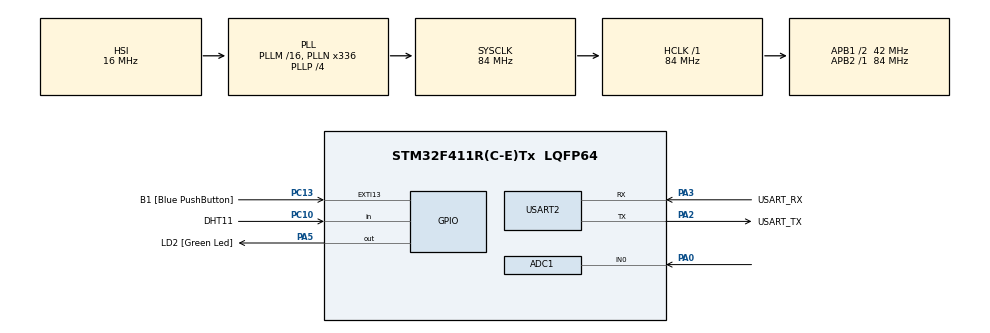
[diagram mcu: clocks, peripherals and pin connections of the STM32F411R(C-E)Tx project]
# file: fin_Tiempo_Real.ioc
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ADC1.Channel-0\#ChannelRegularConversion=ADC_CHANNEL_0
ADC1.NbrOfConversionFlag=1
ADC1.Rank-0\#ChannelRegularConversion=1
ADC1.Resolution=ADC_RESOLUTION_10B
ADC1.SamplingTime-0\#ChannelRegularConversion=ADC_SAMPLETIME_3CYCLES
ADC1.master=1
FREERTOS.Events01=myEventFlag,Dynamic,NULL
FREERTOS.Mutexes01=mutex_waterArea,Dynamic,NULL;mutex_delayTrasmit,Dynamic,NULL
FREERTOS.Queues01=Q_control_TX,3,uint32_t,0,Dynamic,NULL,NULL;Q_RX_control,3,uint32_t,0,Dynamic,NULL,NULL;Q_dht11_control,3,uint32_t,0,Dynamic,NULL,NULL;Q_waterLevel_control,3,uint32_t,0,Dynamic,NULL,NULL
FREERTOS.Tasks01=uart_TX_task,24,512,start_uart_TX_task,Default,NULL,Dynamic,NULL,NULL;uart_RX_task,24,256,start_uart_RX_task,Default,NULL,Dynamic,NULL,NULL;control_task,24,128,start_control_task,Default,NULL,Dynamic,NULL,NULL;dht11_task,24,512,start_dht11_task,Default,NULL,Dynamic,NULL,NULL;waterLavel_task,24,128,start_waterLavel_task,Default,NULL,Dynamic,NULL,NULL;lcd_task,24,128,start_lcd_task,Default,NULL,Dynamic,NULL,NULL;emptyDrum_task,24,128,start_emptyDrum_task,Default,NULL,Dynamic,NULL,NULL
Mcu.Family=STM32F4
Mcu.Name=STM32F411R(C-E)Tx
Mcu.Package=LQFP64
NVIC.EXTI15_10_IRQn=true\:5\:0\:false\:false\:true\:true\:true\:true\:true
NVIC.PriorityGroup=NVIC_PRIORITYGROUP_4
NVIC.USART2_IRQn=true\:5\:0\:false\:false\:true\:true\:true\:true\:true
PA0-WKUP.Signal=ADCx_IN0
PA13.GPIO_Label=TMS
PA13.Mode=Serial_Wire
PA13.Signal=SYS_JTMS-SWDIO
PA14.GPIO_Label=TCK
PA14.Mode=Serial_Wire
PA14.Signal=SYS_JTCK-SWCLK
PA2.GPIO_Label=USART_TX
PA2.Mode=Asynchronous
PA2.Signal=USART2_TX
PA3.GPIO_Label=USART_RX
PA3.Mode=Asynchronous
PA3.Signal=USART2_RX
PA5.GPIO_Label=LD2 [Green Led]
PA5.Signal=GPIO_Output
PB3.GPIO_Label=SWO
PB3.Signal=SYS_JTDO-SWO
PC10.GPIO_Label=DHT11
PC10.Signal=GPIO_Input
PC13-ANTI_TAMP.GPIO_Label=B1 [Blue PushButton]
PC13-ANTI_TAMP.GPIO_ModeDefaultEXTI=GPIO_MODE_IT_FALLING
PC13-ANTI_TAMP.Signal=GPXTI13
PC14-OSC32_IN.Mode=LSE-External-Oscillator
PC14-OSC32_IN.Signal=RCC_OSC32_IN
PC15-OSC32_OUT.Mode=LSE-External-Oscillator
PC15-OSC32_OUT.Signal=RCC_OSC32_OUT
PH0\ -\ OSC_IN.Mode=HSE-External-Clock-Source
PH0\ -\ OSC_IN.Signal=RCC_OSC_IN
PH1\ -\ OSC_OUT.Mode=HSE-External-Clock-Source
PH1\ -\ OSC_OUT.Signal=RCC_OSC_OUT
ProjectManager.HeapSize=0x200
ProjectManager.StackSize=0x400
ProjectManager.TargetToolchain=STM32CubeIDE
RCC.48MHZClocksFreq_Value=84000000
RCC.AHBFreq_Value=84000000
RCC.APB1CLKDivider=RCC_HCLK_DIV2
RCC.APB1Freq_Value=42000000
RCC.APB1TimFreq_Value=84000000
RCC.APB2Freq_Value=84000000
RCC.APB2TimFreq_Value=84000000
RCC.CortexFreq_Value=84000000
RCC.FLatency-AdvancedSettings=FLASH_LATENCY_2
RCC.HCLKFreq_Value=84000000
RCC.HSE_VALUE=8000000
RCC.HSI_VALUE=16000000
RCC.PLLN=336
RCC.PLLP=RCC_PLLP_DIV4
RCC.SYSCLKFreq_VALUE=84000000
RCC.SYSCLKSource=RCC_SYSCLKSOURCE_PLLCLK
RCC.VCOOutputFreq_Value=336000000
SH.ADCx_IN0.0=ADC1_IN0,IN0
TIM10.Prescaler=42000
TIM11.Prescaler=8400
USART2.VirtualMode=VM_ASYNC
VP_FREERTOS_VS_CMSIS_V2.Mode=CMSIS_V2
VP_TIM10_VS_ClockSourceINT.Mode=Enable_Timer
VP_TIM11_VS_ClockSourceINT.Mode=Enable_Timer
board=NUCLEO-F411RE

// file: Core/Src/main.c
/* USER CODE BEGIN Header */
/**
  ******************************************************************************
  * @file           : main.c
  * @brief          : Main program body
  ******************************************************************************
  * @attention
  *
  * Copyright (c) 2024 STMicroelectronics.
  * All rights reserved.
  *
  * This software is licensed under terms that can be found in the LICENSE file
  * in the root directory of this software component.
  * If no LICENSE file comes with this software, it is provided AS-IS.
  *
  ******************************************************************************
  */
/* USER CODE END Header */
#include "main.h"
#include "cmsis_os.h"

/* USER CODE BEGIN Includes */
#include <stdio.h>
#include "FreeRTOS.h"
#include "task.h"
#include "semphr.h"
#include <string.h>

#include <dht11.h>
#include <adc.h>

/* USER CODE END Includes */

ADC_HandleTypeDef hadc1;

TIM_HandleTypeDef htim10;
TIM_HandleTypeDef htim11;

UART_HandleTypeDef huart2;

/* Definitions for uart_TX_task */
osThreadId_t uart_TX_taskHandle;
const osThreadAttr_t uart_TX_task_attributes = {
  .name = "uart_TX_task",
  .stack_size = 512 * 4,
  .priority = (osPriority_t) osPriorityNormal,
};
/* Definitions for uart_RX_task */
osThreadId_t uart_RX_taskHandle;
const osThreadAttr_t uart_RX_task_attributes = {
  .name = "uart_RX_task",
  .stack_size = 256 * 4,
  .priority = (osPriority_t) osPriorityNormal,
};
/* Definitions for control_task */
osThreadId_t control_taskHandle;
const osThreadAttr_t control_task_attributes = {
  .name = "control_task",
  .stack_size = 128 * 4,
  .priority = (osPriority_t) osPriorityNormal,
};
/* Definitions for dht11_task */
osThreadId_t dht11_taskHandle;
const osThreadAttr_t dht11_task_attributes = {
  .name = "dht11_task",
  .stack_size = 512 * 4,
  .priority = (osPriority_t) osPriorityNormal,
};
/* Definitions for waterLavel_task */
osThreadId_t waterLavel_taskHandle;
const osThreadAttr_t waterLavel_task_attributes = {
  .name = "waterLavel_task",
  .stack_size = 128 * 4,
  .priority = (osPriority_t) osPriorityNormal,
};
/* Definitions for lcd_task */
osThreadId_t lcd_taskHandle;
const osThreadAttr_t lcd_task_attributes = {
  .name = "lcd_task",
  .stack_size = 128 * 4,
  .priority = (osPriority_t) osPriorityNormal,
};
/* Definitions for emptyDrum_task */
osThreadId_t emptyDrum_taskHandle;
const osThreadAttr_t emptyDrum_task_attributes = {
  .name = "emptyDrum_task",
  .stack_size = 128 * 4,
  .priority = (osPriority_t) osPriorityNormal,
};
/* Definitions for Q_control_TX */
osMessageQueueId_t Q_control_TXHandle;
const osMessageQueueAttr_t Q_control_TX_attributes = {
  .name = "Q_control_TX"
};
/* Definitions for Q_RX_control */
osMessageQueueId_t Q_RX_controlHandle;
const osMessageQueueAttr_t Q_RX_control_attributes = {
  .name = "Q_RX_control"
};
/* Definitions for Q_dht11_control */
osMessageQueueId_t Q_dht11_controlHandle;
const osMessageQueueAttr_t Q_dht11_control_attributes = {
  .name = "Q_dht11_control"
};
/* Definitions for Q_waterLevel_control */
osMessageQueueId_t Q_waterLevel_controlHandle;
const osMessageQueueAttr_t Q_waterLevel_control_attributes = {
  .name = "Q_waterLevel_control"
};
/* Definitions for mutex_waterArea */
osMutexId_t mutex_waterAreaHandle;
const osMutexAttr_t mutex_waterArea_attributes = {
  .name = "mutex_waterArea"
};
/* Definitions for mutex_delayTrasmit */
osMutexId_t mutex_delayTrasmitHandle;
const osMutexAttr_t mutex_delayTrasmit_attributes = {
  .name = "mutex_delayTrasmit"
};
/* Definitions for myEventFlag */
osEventFlagsId_t myEventFlagHandle;
const osEventFlagsAttr_t myEventFlag_attributes = {
  .name = "myEventFlag"
};
/* USER CODE BEGIN PV */
uint8_t WaterArea;
uint32_t delayTrasmit;
/* USER CODE END PV */

void SystemClock_Config(void);
static void MX_GPIO_Init(void);
static void MX_USART2_UART_Init(void);
static void MX_TIM10_Init(void);
static void MX_ADC1_Init(void);
static void MX_TIM11_Init(void);
void start_uart_TX_task(void *argument);
void start_uart_RX_task(void *argument);
void start_control_task(void *argument);
void start_dht11_task(void *argument);
void start_waterLavel_task(void *argument);
void start_lcd_task(void *argument);
void start_emptyDrum_task(void *argument);

/* USER CODE BEGIN PFP */
extern void DHT11_Init(DHT11_TypeDef* dht11);
extern HAL_StatusTypeDef DHT11_ReadData(DHT11_TypeDef* dht11, uint8_t* humidity, uint8_t* temperature);

extern uint32_t readAnalogA0(void);
extern uint32_t getWaterLevel (uint32_t val_agua);
/* USER CODE END PFP */

int main(void)
{

  /* MCU Configuration--------------------------------------------------------*/

  /* Reset of all peripherals, Initializes the Flash interface and the Systick. */
  HAL_Init();

  /* Configure the system clock */
  SystemClock_Config();

  /* Initialize all configured peripherals */
  MX_GPIO_Init();
  MX_USART2_UART_Init();
  MX_TIM10_Init();
  MX_ADC1_Init();
  MX_TIM11_Init();

  /* Init scheduler */
  osKernelInitialize();
  /* Create the mutex(es) */
  /* creation of mutex_waterArea */
  mutex_waterAreaHandle = osMutexNew(&mutex_waterArea_attributes);

  /* creation of mutex_delayTrasmit */
  mutex_delayTrasmitHandle = osMutexNew(&mutex_delayTrasmit_attributes);

  /* Create the queue(s) */
  /* creation of Q_control_TX */
  Q_control_TXHandle = osMessageQueueNew (3, sizeof(uint32_t), &Q_control_TX_attributes);

  /* creation of Q_RX_control */
  Q_RX_controlHandle = osMessageQueueNew (3, sizeof(uint32_t), &Q_RX_control_attributes);

  /* creation of Q_dht11_control */
  Q_dht11_controlHandle = osMessageQueueNew (3, sizeof(uint32_t), &Q_dht11_control_attributes);

  /* creation of Q_waterLevel_control */
  Q_waterLevel_controlHandle = osMessageQueueNew (3, sizeof(uint32_t), &Q_waterLevel_control_attributes);

  /* Create the thread(s) */
  /* creation of uart_TX_task */
  uart_TX_taskHandle = osThreadNew(start_uart_TX_task, NULL, &uart_TX_task_attributes);

  /* creation of uart_RX_task */
  uart_RX_taskHandle = osThreadNew(start_uart_RX_task, NULL, &uart_RX_task_attributes);

  /* creation of control_task */
  control_taskHandle = osThreadNew(start_control_task, NULL, &control_task_attributes);

  /* creation of dht11_task */
  dht11_taskHandle = osThreadNew(start_dht11_task, NULL, &dht11_task_attributes);

  /* creation of waterLavel_task */
  waterLavel_taskHandle = osThreadNew(start_waterLavel_task, NULL, &waterLavel_task_attributes);

  /* creation of lcd_task */
  lcd_taskHandle = osThreadNew(start_lcd_task, NULL, &lcd_task_attributes);

  /* creation of emptyDrum_task */
  emptyDrum_taskHandle = osThreadNew(start_emptyDrum_task, NULL, &emptyDrum_task_attributes);

  /* creation of myEventFlag */
  myEventFlagHandle = osEventFlagsNew(&myEventFlag_attributes);

  /* Start scheduler */
  osKernelStart();

  /* We should never get here as control is now taken by the scheduler */
  /* Infinite loop */
  while (1)
  {

  }
}

void SystemClock_Config(void)
{
  RCC_OscInitTypeDef RCC_OscInitStruct = {0};
  RCC_ClkInitTypeDef RCC_ClkInitStruct = {0};

  /** Configure the main internal regulator output voltage
  */
  __HAL_RCC_PWR_CLK_ENABLE();
  __HAL_PWR_VOLTAGESCALING_CONFIG(PWR_REGULATOR_VOLTAGE_SCALE1);

  /** Initializes the RCC Oscillators according to the specified parameters
  * in the RCC_OscInitTypeDef structure.
  */
  RCC_OscInitStruct.OscillatorType = RCC_OSCILLATORTYPE_HSI;
  RCC_OscInitStruct.HSIState = RCC_HSI_ON;
  RCC_OscInitStruct.HSICalibrationValue = RCC_HSICALIBRATION_DEFAULT;
  RCC_OscInitStruct.PLL.PLLState = RCC_PLL_ON;
  RCC_OscInitStruct.PLL.PLLSource = RCC_PLLSOURCE_HSI;
  RCC_OscInitStruct.PLL.PLLM = 16;
  RCC_OscInitStruct.PLL.PLLN = 336;
  RCC_OscInitStruct.PLL.PLLP = RCC_PLLP_DIV4;
  RCC_OscInitStruct.PLL.PLLQ = 4;
  if (HAL_RCC_OscConfig(&RCC_OscInitStruct) != HAL_OK)
  {
    Error_Handler();
  }

  /** Initializes the CPU, AHB and APB buses clocks
  */
  RCC_ClkInitStruct.ClockType = RCC_CLOCKTYPE_HCLK|RCC_CLOCKTYPE_SYSCLK
                              |RCC_CLOCKTYPE_PCLK1|RCC_CLOCKTYPE_PCLK2;
  RCC_ClkInitStruct.SYSCLKSource = RCC_SYSCLKSOURCE_PLLCLK;
  RCC_ClkInitStruct.AHBCLKDivider = RCC_SYSCLK_DIV1;
  RCC_ClkInitStruct.APB1CLKDivider = RCC_HCLK_DIV2;
  RCC_ClkInitStruct.APB2CLKDivider = RCC_HCLK_DIV1;

  if (HAL_RCC_ClockConfig(&RCC_ClkInitStruct, FLASH_LATENCY_2) != HAL_OK)
  {
    Error_Handler();
  }
}

static void MX_ADC1_Init(void)
{

  ADC_ChannelConfTypeDef sConfig = {0};

  /** Configure the global features of the ADC (Clock, Resolution, Data Alignment and number of conversion)
  */
  hadc1.Instance = ADC1;
  hadc1.Init.ClockPrescaler = ADC_CLOCK_SYNC_PCLK_DIV4;
  hadc1.Init.Resolution = ADC_RESOLUTION_10B;
  hadc1.Init.ScanConvMode = DISABLE;
  hadc1.Init.ContinuousConvMode = DISABLE;
  hadc1.Init.DiscontinuousConvMode = DISABLE;
  hadc1.Init.ExternalTrigConvEdge = ADC_EXTERNALTRIGCONVEDGE_NONE;
  hadc1.Init.ExternalTrigConv = ADC_SOFTWARE_START;
  hadc1.Init.DataAlign = ADC_DATAALIGN_RIGHT;
  hadc1.Init.NbrOfConversion = 1;
  hadc1.Init.DMAContinuousRequests = DISABLE;
  hadc1.Init.EOCSelection = ADC_EOC_SINGLE_CONV;
  if (HAL_ADC_Init(&hadc1) != HAL_OK)
  {
    Error_Handler();
  }

  /** Configure for the selected ADC regular channel its corresponding rank in the sequencer and its sample time.
  */
  sConfig.Channel = ADC_CHANNEL_0;
  sConfig.Rank = 1;
  sConfig.SamplingTime = ADC_SAMPLETIME_3CYCLES;
  if (HAL_ADC_ConfigChannel(&hadc1, &sConfig) != HAL_OK)
  {
    Error_Handler();
  }

}

static void MX_TIM10_Init(void)
{

  htim10.Instance = TIM10;
  htim10.Init.Prescaler = 42000;
  htim10.Init.CounterMode = TIM_COUNTERMODE_UP;
  htim10.Init.Period = 65535;
  htim10.Init.ClockDivision = TIM_CLOCKDIVISION_DIV1;
  htim10.Init.AutoReloadPreload = TIM_AUTORELOAD_PRELOAD_DISABLE;
  if (HAL_TIM_Base_Init(&htim10) != HAL_OK)
  {
    Error_Handler();
  }

}

static void MX_TIM11_Init(void)
{

  htim11.Instance = TIM11;
  htim11.Init.Prescaler = 8400;
  htim11.Init.CounterMode = TIM_COUNTERMODE_UP;
  htim11.Init.Period = 65535;
  htim11.Init.ClockDivision = TIM_CLOCKDIVISION_DIV1;
  htim11.Init.AutoReloadPreload = TIM_AUTORELOAD_PRELOAD_DISABLE;
  if (HAL_TIM_Base_Init(&htim11) != HAL_OK)
  {
    Error_Handler();
  }

}

static void MX_USART2_UART_Init(void)
{

  huart2.Instance = USART2;
  huart2.Init.BaudRate = 115200;
  huart2.Init.WordLength = UART_WORDLENGTH_8B;
  huart2.Init.StopBits = UART_STOPBITS_1;
  huart2.Init.Parity = UART_PARITY_NONE;
  huart2.Init.Mode = UART_MODE_TX_RX;
  huart2.Init.HwFlowCtl = UART_HWCONTROL_NONE;
  huart2.Init.OverSampling = UART_OVERSAMPLING_16;
  if (HAL_UART_Init(&huart2) != HAL_OK)
  {
    Error_Handler();
  }

}

static void MX_GPIO_Init(void)
{
  GPIO_InitTypeDef GPIO_InitStruct = {0};

  /* GPIO Ports Clock Enable */
  __HAL_RCC_GPIOC_CLK_ENABLE();
  __HAL_RCC_GPIOH_CLK_ENABLE();
  __HAL_RCC_GPIOA_CLK_ENABLE();
  __HAL_RCC_GPIOB_CLK_ENABLE();

  /*Configure GPIO pin Output Level */
  HAL_GPIO_WritePin(LD2_GPIO_Port, LD2_Pin, GPIO_PIN_RESET);

  /*Configure GPIO pin : B1_Pin */
  GPIO_InitStruct.Pin = B1_Pin;
  GPIO_InitStruct.Mode = GPIO_MODE_IT_FALLING;
  GPIO_InitStruct.Pull = GPIO_NOPULL;
  HAL_GPIO_Init(B1_GPIO_Port, &GPIO_InitStruct);

  /*Configure GPIO pin : LD2_Pin */
  GPIO_InitStruct.Pin = LD2_Pin;
  GPIO_InitStruct.Mode = GPIO_MODE_OUTPUT_PP;
  GPIO_InitStruct.Pull = GPIO_NOPULL;
  GPIO_InitStruct.Speed = GPIO_SPEED_FREQ_LOW;
  HAL_GPIO_Init(LD2_GPIO_Port, &GPIO_InitStruct);

  /*Configure GPIO pin : DHT11_Pin */
  GPIO_InitStruct.Pin = DHT11_Pin;
  GPIO_InitStruct.Mode = GPIO_MODE_INPUT;
  GPIO_InitStruct.Pull = GPIO_NOPULL;
  HAL_GPIO_Init(DHT11_GPIO_Port, &GPIO_InitStruct);

  /* EXTI interrupt init*/
  HAL_NVIC_SetPriority(EXTI15_10_IRQn, 5, 0);
  HAL_NVIC_EnableIRQ(EXTI15_10_IRQn);

}

/* USER CODE BEGIN 4 */
void HAL_UART_RxCpltCallback(UART_HandleTypeDef * huart2){
	osEventFlagsSet(myEventFlagHandle, 0x100);
}

void HAL_GPIO_EXTI_Callback(uint16_t GPIO_Pin){
	if (GPIO_Pin == B1_Pin){
		HAL_GPIO_TogglePin(LD2_GPIO_Port, LD2_Pin);
		osEventFlagsSet(myEventFlagHandle, 0x10000);
		///0x20 (Se puede usar para debugear)
		//osEventFlagsSet(myEventFlagHandle, 0x20);
	}
}

uint8_t leerWaterArea(){
	uint8_t auxWaterArea =-1;
	osMutexAcquire(mutex_waterAreaHandle, 0U);
	auxWaterArea = WaterArea; // Leer variable global
	osMutexRelease(mutex_waterAreaHandle);
	return auxWaterArea;
}

void escribirWaterArea(uint8_t auxWaterArea){
	osMutexAcquire(mutex_waterAreaHandle, 0U);
	WaterArea = auxWaterArea; // Escribir variable global
	osMutexRelease(mutex_waterAreaHandle);
}

uint32_t leerDelay(){
	uint32_t auxdelayTrasmit;
	osMutexAcquire(mutex_delayTrasmitHandle, 0U);
	auxdelayTrasmit = delayTrasmit; // Leer variable global
	osMutexRelease(mutex_delayTrasmitHandle);
	return auxdelayTrasmit;
}

void escribirDelay(uint32_t auxdelayTrasmit){
	osMutexAcquire(mutex_delayTrasmitHandle, 0U);
	delayTrasmit = auxdelayTrasmit; // Escribir variable global
	osMutexRelease(mutex_delayTrasmitHandle);
}

/* USER CODE END 4 */

void start_uart_TX_task(void *argument)
{
  /* USER CODE BEGIN 5 */
  /* Infinite loop */
	osStatus_t status_Q_control_TX;
	uint32_t recMsg_Q_control_TX;
	uint8_t priMsg_Q_control_TX;

	uint8_t buffTX [40];
	uint16_t buff_len;

	uint32_t auxDelay = 1;
	escribirDelay(auxDelay);

	uint8_t hum, temp, watLev, watArea;

  for(;;)
  {

	  // Enviar señal a control
	  osEventFlagsSet(myEventFlagHandle, 0x20);

	  // Reapuesta de todos los datos
	  osEventFlagsWait(myEventFlagHandle, 0x10, osFlagsWaitAll, osWaitForever);
	  osEventFlagsClear(myEventFlagHandle, 0x10);

	  // Leer Queue
	  status_Q_control_TX = osMessageQueueGet(Q_control_TXHandle, &recMsg_Q_control_TX, &priMsg_Q_control_TX, osWaitForever);

	  // Interpretar Queue
	  watArea  = (recMsg_Q_control_TX & 0xFF);
	  temp = ((recMsg_Q_control_TX & 0xFF00) >> 8);
	  hum = ((recMsg_Q_control_TX & 0xFF0000) >> 16);
	  watLev = ((recMsg_Q_control_TX & 0xFF000000) >> 24);

	  // Recibir delay
	  auxDelay = leerDelay();

	  // Delay muy pequeño
	  if (auxDelay < 10){

		  // Borrar flag anterior
		  osEventFlagsClear(myEventFlagHandle, 0x1000);

		  // Esperar nuevo flag
		  osEventFlagsWait(myEventFlagHandle, 0x1000, osFlagsWaitAll, osWaitForever);
		  osEventFlagsClear(myEventFlagHandle, 0x1000);

		  auxDelay = leerDelay();
	  }else {
		  // Mandar mensaje (Definir como mandar datos)
		  buff_len = sprintf((char*)buffTX, "watArea %d, hum %d, temp %d, watLev %d\n\r", watArea, hum, temp, watLev);
		  HAL_UART_Transmit(&huart2, (uint8_t *)buffTX, buff_len, 100);
	  }

	  // Cumplir delay especificado
	  osDelay(auxDelay);

  }
  /* USER CODE END 5 */
}

void start_uart_RX_task(void *argument)
{
  /* USER CODE BEGIN start_uart_RX_task */
  /* Infinite loop */
	unsigned char buffRX[2] = "FFFFFF\0";
	uint16_t buff_len = 2;
	memset(buffRX, '\0', buff_len);

	uint8_t err;

	uint32_t auxDelay;

	uint8_t estado = 0;

	osStatus_t status_Q_RX_control;
	uint32_t sendMsg_Q_RX_control;

	unsigned char buffTX[20];
	uint16_t buff_lenTX = 6;

	osDelay(1000);

	for(;;)
	  {

		// Esperar que alguien se conecte

		memset(&buffRX, '\0', sizeof(buffRX));
	    HAL_UART_Receive_IT(&huart2, buffRX, buff_len);

		osEventFlagsWait(myEventFlagHandle, 0x100, osFlagsWaitAll, osWaitForever);
		osEventFlagsClear(myEventFlagHandle, 0x100);
		HAL_GPIO_WritePin(LD2_GPIO_Port, LD2_Pin, GPIO_PIN_SET); // Led encendido estado 1
	    // 5 s -> 0x001388
		// 1 s -> 0x0003E8

		//sscanf(buffRX, "%2x",(unsigned int*) &auxDelay);

		sscanf((char*)buffRX, "%02X", &auxDelay);

		escribirDelay(auxDelay*100);

		osEventFlagsSet(myEventFlagHandle, 0x1000);
	  }

  /* USER CODE END start_uart_RX_task */
}

void start_control_task(void *argument)
{
  /* USER CODE BEGIN start_control_task */
  /* Infinite loop */

		uint8_t cod = 0x01;

		osStatus_t status_Q_RX_control;
		osStatus_t status_Q_dht11_control;
		osStatus_t status_Q_waterLevel_control;
		osStatus_t status_Q_control_TX;

		uint32_t recMsg_Q_RX_control;
		uint8_t priMsg_Q_RX_control;

		uint32_t recMsg_Q_dht11_control, recMsg_Q_waterLevel_control;
		uint8_t priMsg_Q_dht11_control, priMsg_Q_waterLevel_control;

		// Recived value
		uint8_t temp, hum, watLev, watArea;

		// envio mensaje
		uint32_t sendMsg_Q_control_TX;

		uint16_t timer_val;
		uint8_t _buffTX [40];
		uint16_t _buff_len;

	  for(;;)
	  {

		  // Recivir mensaje (TX)
		  osEventFlagsWait(myEventFlagHandle, 0x20, osFlagsWaitAll, osWaitForever);
		  osEventFlagsClear(myEventFlagHandle, 0x20);

		  // Activar dht11
		  osEventFlagsSet(myEventFlagHandle, 0x01);
			osEventFlagsWait(myEventFlagHandle, 0x04, osFlagsWaitAll, osWaitForever);
			osEventFlagsClear(myEventFlagHandle, 0x04);
		  status_Q_dht11_control = osMessageQueueGet(Q_dht11_controlHandle, &recMsg_Q_dht11_control, &priMsg_Q_dht11_control, osWaitForever);
		  if (status_Q_dht11_control == osOK) {
			  hum = (recMsg_Q_dht11_control & 0xFF); // 0x0a (Example)
			  temp = ((recMsg_Q_dht11_control & 0xFF00) >> 8); //((recMsg_Q_dht11_control>>8) & 0xFF); //0x14
		  }else {
			  hum = 101;
			  temp = 101;
		  }

		  // Activar waterLevel
		  osEventFlagsSet(myEventFlagHandle, 0x02);
		  osEventFlagsWait(myEventFlagHandle, 0x08, osFlagsWaitAll, osWaitForever);
		  osEventFlagsClear(myEventFlagHandle, 0x08);
		  status_Q_waterLevel_control = osMessageQueueGet(Q_waterLevel_controlHandle, &recMsg_Q_waterLevel_control, &priMsg_Q_waterLevel_control, osWaitForever);
		  if (status_Q_waterLevel_control == osOK) {
			  watLev = (recMsg_Q_waterLevel_control & 0xFF); // valor Nivel Agua		  			  temp = ((recMsg_Q_dht11_control & 0xFF00) >> 8); //((recMsg_Q_dht11_control>>8) & 0xFF); //0x14
		  }else {
		  	 watLev = 101;
		  }

		  // Recivir dato de mutex
		  watArea = leerWaterArea(); // ml/s

		  sprintf(& sendMsg_Q_control_TX,"%c%c%c%c", watArea, hum, temp, watLev); // 0x001e140a (watlevel/temp/hum/watArea)
		  status_Q_control_TX = osMessageQueuePut(Q_control_TXHandle, &sendMsg_Q_control_TX, 0, osWaitForever);
		  osEventFlagsSet(myEventFlagHandle, 0x10);

	  }

  /* USER CODE END start_control_task */
}

void start_dht11_task(void *argument)
{
  /* USER CODE BEGIN start_dht11_task */
  /* Infinite loop */

	// Crear variable y cargar valores inicialies de puerto
	DHT11_TypeDef dht11;
	dht11.GPIO_Port = DHT11_GPIO_Port;  // Reemplaza 'x' con el puerto GPIO que estás utilizando
	dht11.GPIO_Pin = DHT11_Pin;  // Reemplaza 'x' con el número del pin GPIO que estás utilizando
	DHT11_Init(&dht11);

	osStatus_t status_Q_dht11_control;

	uint32_t sendMsg_Q_dht11_control;

	uint8_t auxHumidity, auxTemperature;
	uint8_t humidity, temperature;

  for(;;)
  {

	  osEventFlagsWait(myEventFlagHandle, 0x01, osFlagsWaitAll, osWaitForever);
	  osEventFlagsClear(myEventFlagHandle, 0x01);

	  humidity = 255;
	  temperature = 255;

	  if (DHT11_ReadData(&dht11, &humidity, &temperature) == HAL_OK) {
		  // Well execute
		  auxHumidity = humidity;
		  auxTemperature = temperature;
	  }else {
		  // Error de lectura
		  auxHumidity = 101;
		  auxTemperature = 101;
	  }

	  sprintf(&sendMsg_Q_dht11_control, "%c%c%c%c", humidity, temperature, 0, 0); // 0x00001246 (0/0/temp/hum)
	  status_Q_dht11_control = osMessageQueuePut(Q_dht11_controlHandle, &sendMsg_Q_dht11_control, 0, osWaitForever);

	  osEventFlagsSet(myEventFlagHandle, 0x04);

  }
  /* USER CODE END start_dht11_task */
}

void start_waterLavel_task(void *argument)
{
  /* USER CODE BEGIN start_waterLavel_task */
  /* Infinite loop */

	osStatus_t status_Q_waterLevel_control;

	uint32_t sendMsg_Q_waterLevel_control;

	uint32_t potWaterLevel;
	uint8_t waterLevel;

	 for(;;)
	  {

		  osEventFlagsWait(myEventFlagHandle, 0x02, osFlagsWaitAll, osWaitForever);
		  osEventFlagsClear(myEventFlagHandle, 0x02);

		  // Posible hacer mas medidas de una y hacer media
		  potWaterLevel = readAnalogA0 ();
		  waterLevel = getWaterLevel (potWaterLevel);
		  // Debug
		  //waterLevel = 60;

		  sprintf(&sendMsg_Q_waterLevel_control, "%c%c%c%c", waterLevel, 0, 0, 0); //(0/0/0/watLev)
		  status_Q_waterLevel_control = osMessageQueuePut(Q_waterLevel_controlHandle, &sendMsg_Q_waterLevel_control, 0, osWaitForever);

		  osEventFlagsSet(myEventFlagHandle, 0x08);

	  }

  /* USER CODE END start_waterLavel_task */
}

void start_lcd_task(void *argument)
{
  /* USER CODE BEGIN start_lcd_task */
  /* Infinite loop */
  for(;;)
  {
    osDelay(100);
  }
  /* USER CODE END start_lcd_task */
}

void start_emptyDrum_task(void *argument)
{
  /* USER CODE BEGIN start_emptyDrum_task */
	uint16_t timer_val;
	uint8_t auxWaterArea;

	// Set Water Area
	escribirWaterArea(0);
	  for(;;)
	  {

		  // Empezar a contar
		  __HAL_TIM_SET_COUNTER(&htim10, 0);
		  HAL_TIM_Base_Init(&htim10);
		  HAL_TIM_Base_Start(&htim10);
		  timer_val = __HAL_TIM_GET_COUNTER(&htim10);

		  // Wait flag
		  osEventFlagsClear(myEventFlagHandle, 0x10000);
		  osEventFlagsWait(myEventFlagHandle, 0x10000, osFlagsWaitAll, osWaitForever);
		  osEventFlagsClear(myEventFlagHandle, 0x10000);

		  // Get time elapsed
		  timer_val = __HAL_TIM_GET_COUNTER(&htim10) - timer_val;
		  // Sacar valor real en segundos (prescaler 42.000 y 84 MHz)
		  timer_val = (uint32_t)  timer_val*0.0005;

		  if (timer_val < 2 ){
			  auxWaterArea = 99;
		  }else {
			  auxWaterArea = 100 / timer_val;
		  }

		  // Guardar valor recivido
		  escribirWaterArea(auxWaterArea);

		  // Encender led

		  osDelay(1000);

		  // Apagar led

	  }
  /* USER CODE END start_emptyDrum_task */
}

void Error_Handler(void)
{
  __disable_irq();
  while (1)
  {
  }
}
